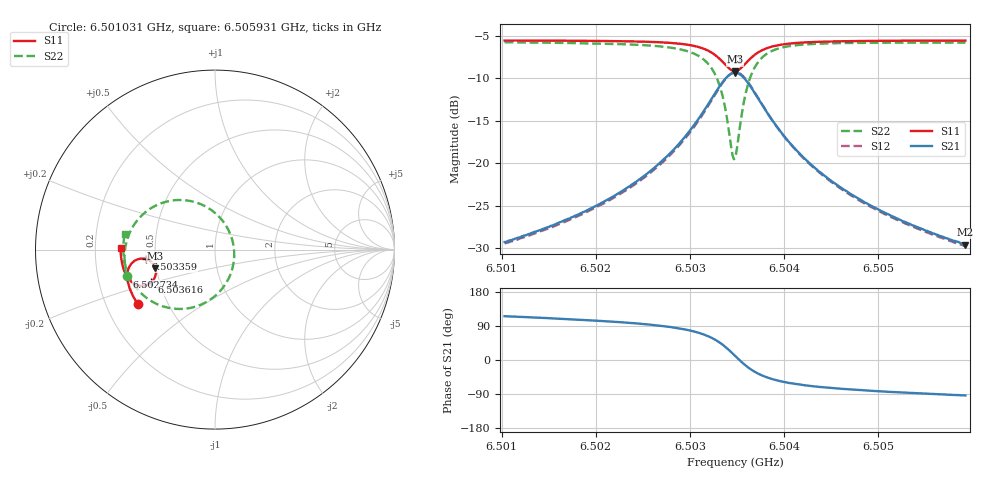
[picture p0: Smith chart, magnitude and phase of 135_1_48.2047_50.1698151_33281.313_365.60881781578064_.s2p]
#  HZ  S  RI  R  50.00
! Rohde & Schwarz Vector Network Analyzer
! Rohde-Schwarz,ZNB20-2Port,1311601062101988,3.16
! Created: UTC 3/20/2024, 11:42:04 AM
! freq[Hz]  re:S11  im:S11  re:S21  im:S21  re:S12  im:S12  re:S22  im:S22
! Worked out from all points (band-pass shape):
!   401 points, 6.501031 GHz to 6.505931 GHz, reference 50 ohm
!   highest |S21| = -9.36 dB at 6.503481 GHz (marker M1); lowest = -29.6 dB at 6.505931 GHz (marker M2)
!   |S21| within 3 dB of the highest: 6.503236 GHz to 6.503726 GHz (489.8 kHz wide, 0.00753 % of centre)
!   lowest |S11| = -9.2 dB at 6.503481 GHz (marker M3), VSWR 2.07, Z = 24.6 - j5.81 ohm
!   |S11| at or under -10 dB: nowhere
!   |S22| runs from -19.5 to -5.8 dB; largest |S21 - S12| = 0.012
!   S11 on the Smith chart (normalised r, x): 6.501031 GHz: 0.34, -0.28; 6.502734 GHz: 0.33, -0.14; 6.503359 GHz: 0.44, -0.05; 6.503616 GHz: 0.45, -0.19; 6.505931 GHz: 0.31, +0.01
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6.5010309e9  -0.43 -0.3038  -0.0149 0.0311  -0.013 0.0312  -0.4924 -0.146
6.5018517e9  -0.4647 -0.2425  -0.014 0.0492  -0.0117 0.0487  -0.5041 -0.0571
6.5022928e9  -0.4799 -0.2028  -0.0112 0.0685  -0.00799 0.0674  -0.5004 0.00672
6.5026725e9  -0.4885 -0.1602  -0.00146 0.0995  0.00222 0.097  -0.4793 0.0847
6.5027338e9  -0.4891 -0.152  0.00187 0.1067  0.00554 0.104  -0.472 0.1009
6.5029543e9  -0.4854 -0.1168  0.024 0.1423  0.0277 0.1379  -0.4255 0.1718
6.5031136e9  -0.4707 -0.0845  0.0638 0.1785  0.0665 0.1724  -0.3482 0.2357
6.5032606e9  -0.4326 -0.055  0.1459 0.2074  0.1467 0.2007  -0.198 0.2765
6.5033096e9  -0.4112 -0.0501  0.1888 0.2057  0.1889 0.1999  -0.1229 0.2675
6.5033586e9  -0.386 -0.0522  0.2379 0.1902  0.2381 0.1853  -0.0389 0.2325
6.5034443e9  -0.3431 -0.0815  0.3163 0.1149  0.3188 0.1105  0.0862 0.084
6.5034811e9  -0.3322 -0.1038  0.3339 0.066  0.3374 0.0603  0.1067 -0.00821
6.5035056e9  -0.3292 -0.1201  0.3373 0.031  0.3411 0.0241  0.1038 -0.0718
6.5035423e9  -0.3315 -0.1443  0.3297 -0.0192  0.333 -0.0284  0.076 -0.1612
6.5036158e9  -0.354 -0.1813  0.2827 -0.0957  0.2823 -0.1074  -0.0351 -0.2843
6.5037139e9  -0.3948 -0.2007  0.204 -0.139  0.1989 -0.1492  -0.1953 -0.3308
6.5038731e9  -0.4443 -0.1932  0.1159 -0.1383  0.1086 -0.1438  -0.3558 -0.2863
6.5040446e9  -0.4734 -0.172  0.0677 -0.1173  0.0612 -0.1198  -0.434 -0.2188
6.5043019e9  -0.4959 -0.1407  0.0346 -0.0907  0.0297 -0.0913  -0.4818 -0.1406
6.5046817e9  -0.5117 -0.1005  0.0149 -0.0661  0.0115 -0.0656  -0.5049 -0.0629
6.5051227e9  -0.5208 -0.0592  0.00512 -0.0496  0.00297 -0.0489  -0.5107 0.0011
6.5059313e9  -0.5259 0.00957  -0.00208 -0.0331  -0.00339 -0.0324  -0.5034 0.0882
